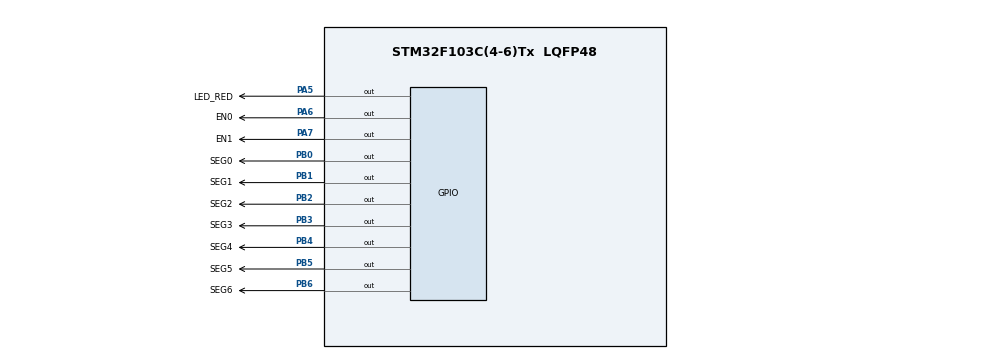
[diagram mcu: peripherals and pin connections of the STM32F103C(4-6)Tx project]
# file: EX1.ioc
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Mcu.Family=STM32F1
Mcu.Name=STM32F103C(4-6)Tx
Mcu.Package=LQFP48
NVIC.PriorityGroup=NVIC_PRIORITYGROUP_4
NVIC.TIM2_IRQn=true\:0\:0\:false\:false\:true\:true\:true\:true
PA5.GPIO_Label=LED_RED
PA5.Signal=GPIO_Output
PA6.GPIO_Label=EN0
PA6.Signal=GPIO_Output
PA7.GPIO_Label=EN1
PA7.Signal=GPIO_Output
PB0.GPIO_Label=SEG0
PB0.Signal=GPIO_Output
PB1.GPIO_Label=SEG1
PB1.Signal=GPIO_Output
PB2.GPIO_Label=SEG2
PB2.Signal=GPIO_Output
PB3.GPIO_Label=SEG3
PB3.Signal=GPIO_Output
PB4.GPIO_Label=SEG4
PB4.Signal=GPIO_Output
PB5.GPIO_Label=SEG5
PB5.Signal=GPIO_Output
PB6.GPIO_Label=SEG6
PB6.Signal=GPIO_Output
ProjectManager.HeapSize=0x200
ProjectManager.StackSize=0x400
ProjectManager.TargetToolchain=STM32CubeIDE
RCC.APB1Freq_Value=8000000
RCC.APB2Freq_Value=8000000
TIM2.Period=9
TIM2.Prescaler=7999
VP_TIM2_VS_ClockSourceINT.Mode=Internal
board=custom

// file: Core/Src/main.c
/* USER CODE BEGIN Header */
/**
  ******************************************************************************
  * @file           : main.c
  * @brief          : Main program body
  ******************************************************************************
  * @attention
  *
  * Copyright (c) 2023 STMicroelectronics.
  * All rights reserved.
  *
  * This software is licensed under terms that can be found in the LICENSE file
  * in the root directory of this software component.
  * If no LICENSE file comes with this software, it is provided AS-IS.
  *
  ******************************************************************************
  */
/* USER CODE END Header */
#include "main.h"

TIM_HandleTypeDef htim2;

void SystemClock_Config(void);
static void MX_GPIO_Init(void);
static void MX_TIM2_Init(void);

/* USER CODE BEGIN 0 */
// Define the pins for each segment (PB0 to PB6)
const uint8_t sevenSegPatterns[10] = {
    0b00111111, // 0
    0b00000110, // 1
    0b01011011, // 2
    0b01001111, // 3
    0b01100110, // 4
    0b01101101, // 5
    0b01111101, // 6
    0b00000111, // 7
    0b01111111, // 8
    0b01101111  // 9
};

void display7SEG(int digit) {
    // Set the appropriate pins based on the digit pattern
    HAL_GPIO_WritePin(GPIOB, GPIO_PIN_0, ((sevenSegPatterns[digit] >> 0) & 1) ^ 1);
    HAL_GPIO_WritePin(GPIOB, GPIO_PIN_1, ((sevenSegPatterns[digit] >> 1) & 1) ^ 1);
    HAL_GPIO_WritePin(GPIOB, GPIO_PIN_2, ((sevenSegPatterns[digit] >> 2) & 1) ^ 1);
    HAL_GPIO_WritePin(GPIOB, GPIO_PIN_3, ((sevenSegPatterns[digit] >> 3) & 1) ^ 1);
    HAL_GPIO_WritePin(GPIOB, GPIO_PIN_4, ((sevenSegPatterns[digit] >> 4) & 1) ^ 1);
    HAL_GPIO_WritePin(GPIOB, GPIO_PIN_5, ((sevenSegPatterns[digit] >> 5) & 1) ^ 1);
    HAL_GPIO_WritePin(GPIOB, GPIO_PIN_6, ((sevenSegPatterns[digit] >> 6) & 1) ^ 1);
}
/* USER CODE END 0 */

int main(void)
{

  /* MCU Configuration--------------------------------------------------------*/

  /* Reset of all peripherals, Initializes the Flash interface and the Systick. */
  HAL_Init();

  /* Configure the system clock */
  SystemClock_Config();

  /* Initialize all configured peripherals */
  MX_GPIO_Init();
  MX_TIM2_Init();
  /* USER CODE BEGIN 2 */
  HAL_TIM_Base_Start_IT(&htim2);
  /* USER CODE END 2 */

  /* Infinite loop */
  while (1)
  {

  }
}

void SystemClock_Config(void)
{
  RCC_OscInitTypeDef RCC_OscInitStruct = {0};
  RCC_ClkInitTypeDef RCC_ClkInitStruct = {0};

  /** Initializes the RCC Oscillators according to the specified parameters
  * in the RCC_OscInitTypeDef structure.
  */
  RCC_OscInitStruct.OscillatorType = RCC_OSCILLATORTYPE_HSI;
  RCC_OscInitStruct.HSIState = RCC_HSI_ON;
  RCC_OscInitStruct.HSICalibrationValue = RCC_HSICALIBRATION_DEFAULT;
  RCC_OscInitStruct.PLL.PLLState = RCC_PLL_NONE;
  if (HAL_RCC_OscConfig(&RCC_OscInitStruct) != HAL_OK)
  {
    Error_Handler();
  }

  /** Initializes the CPU, AHB and APB buses clocks
  */
  RCC_ClkInitStruct.ClockType = RCC_CLOCKTYPE_HCLK|RCC_CLOCKTYPE_SYSCLK
                              |RCC_CLOCKTYPE_PCLK1|RCC_CLOCKTYPE_PCLK2;
  RCC_ClkInitStruct.SYSCLKSource = RCC_SYSCLKSOURCE_HSI;
  RCC_ClkInitStruct.AHBCLKDivider = RCC_SYSCLK_DIV1;
  RCC_ClkInitStruct.APB1CLKDivider = RCC_HCLK_DIV1;
  RCC_ClkInitStruct.APB2CLKDivider = RCC_HCLK_DIV1;

  if (HAL_RCC_ClockConfig(&RCC_ClkInitStruct, FLASH_LATENCY_0) != HAL_OK)
  {
    Error_Handler();
  }
}

static void MX_TIM2_Init(void)
{

  TIM_ClockConfigTypeDef sClockSourceConfig = {0};
  TIM_MasterConfigTypeDef sMasterConfig = {0};

  htim2.Instance = TIM2;
  htim2.Init.Prescaler = 7999;
  htim2.Init.CounterMode = TIM_COUNTERMODE_UP;
  htim2.Init.Period = 9;
  htim2.Init.ClockDivision = TIM_CLOCKDIVISION_DIV1;
  htim2.Init.AutoReloadPreload = TIM_AUTORELOAD_PRELOAD_DISABLE;
  if (HAL_TIM_Base_Init(&htim2) != HAL_OK)
  {
    Error_Handler();
  }
  sClockSourceConfig.ClockSource = TIM_CLOCKSOURCE_INTERNAL;
  if (HAL_TIM_ConfigClockSource(&htim2, &sClockSourceConfig) != HAL_OK)
  {
    Error_Handler();
  }
  sMasterConfig.MasterOutputTrigger = TIM_TRGO_RESET;
  sMasterConfig.MasterSlaveMode = TIM_MASTERSLAVEMODE_DISABLE;
  if (HAL_TIMEx_MasterConfigSynchronization(&htim2, &sMasterConfig) != HAL_OK)
  {
    Error_Handler();
  }

}

static void MX_GPIO_Init(void)
{
  GPIO_InitTypeDef GPIO_InitStruct = {0};

  /* GPIO Ports Clock Enable */
  __HAL_RCC_GPIOA_CLK_ENABLE();
  __HAL_RCC_GPIOB_CLK_ENABLE();

  /*Configure GPIO pin Output Level */
  HAL_GPIO_WritePin(GPIOA, LED_RED_Pin|EN0_Pin|EN1_Pin, GPIO_PIN_RESET);

  /*Configure GPIO pin Output Level */
  HAL_GPIO_WritePin(GPIOB, SEG0_Pin|SEG1_Pin|SEG2_Pin|SEG3_Pin
                          |SEG4_Pin|SEG5_Pin|SEG6_Pin, GPIO_PIN_RESET);

  /*Configure GPIO pins : LED_RED_Pin EN0_Pin EN1_Pin */
  GPIO_InitStruct.Pin = LED_RED_Pin|EN0_Pin|EN1_Pin;
  GPIO_InitStruct.Mode = GPIO_MODE_OUTPUT_PP;
  GPIO_InitStruct.Pull = GPIO_NOPULL;
  GPIO_InitStruct.Speed = GPIO_SPEED_FREQ_LOW;
  HAL_GPIO_Init(GPIOA, &GPIO_InitStruct);

  /*Configure GPIO pins : SEG0_Pin SEG1_Pin SEG2_Pin SEG3_Pin
                           SEG4_Pin SEG5_Pin SEG6_Pin */
  GPIO_InitStruct.Pin = SEG0_Pin|SEG1_Pin|SEG2_Pin|SEG3_Pin
                          |SEG4_Pin|SEG5_Pin|SEG6_Pin;
  GPIO_InitStruct.Mode = GPIO_MODE_OUTPUT_PP;
  GPIO_InitStruct.Pull = GPIO_NOPULL;
  GPIO_InitStruct.Speed = GPIO_SPEED_FREQ_LOW;
  HAL_GPIO_Init(GPIOB, &GPIO_InitStruct);

}

/* USER CODE BEGIN 4 */
int counter = 50;
int state = 0;
void HAL_TIM_PeriodElapsedCallback ( TIM_HandleTypeDef * htim ){
	counter--;
	if(counter <= 0){
		counter = 50;
		if(state == 0){
			HAL_GPIO_WritePin(EN0_GPIO_Port, EN0_Pin, 0);
			HAL_GPIO_WritePin(EN1_GPIO_Port, EN1_Pin, 1);
			display7SEG(1);
		}
		if(state == 1){
			HAL_GPIO_WritePin(EN0_GPIO_Port, EN0_Pin, 1);
			HAL_GPIO_WritePin(EN1_GPIO_Port, EN1_Pin, 0);
			display7SEG(2);
		}
		state = (state + 1) % 2;
	}
}
/* USER CODE END 4 */

void Error_Handler(void)
{
  __disable_irq();
  while (1)
  {
  }
}
